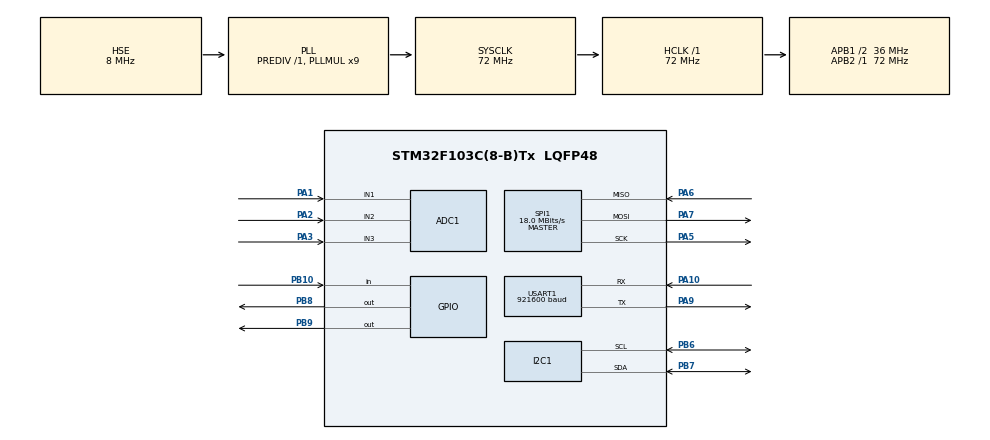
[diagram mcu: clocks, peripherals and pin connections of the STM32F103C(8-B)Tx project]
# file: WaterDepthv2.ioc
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ADC1.Channel-0\#ChannelRegularConversion=ADC_CHANNEL_1
ADC1.NbrOfConversionFlag=1
ADC1.Rank-0\#ChannelRegularConversion=1
ADC1.SamplingTime-0\#ChannelRegularConversion=ADC_SAMPLETIME_1CYCLE_5
ADC1.master=1
Mcu.Family=STM32F1
Mcu.Name=STM32F103C(8-B)Tx
Mcu.Package=LQFP48
NVIC.PriorityGroup=NVIC_PRIORITYGROUP_4
PA1.Signal=ADCx_IN1
PA10.GPIO_PuPd=GPIO_NOPULL
PA10.Mode=Asynchronous
PA10.Signal=USART1_RX
PA13.Mode=Serial_Wire
PA13.Signal=SYS_JTMS-SWDIO
PA14.Mode=Serial_Wire
PA14.Signal=SYS_JTCK-SWCLK
PA2.Signal=ADCx_IN2
PA3.Signal=ADCx_IN3
PA5.Mode=Full_Duplex_Master
PA5.Signal=SPI1_SCK
PA6.Mode=Full_Duplex_Master
PA6.Signal=SPI1_MISO
PA7.Mode=Full_Duplex_Master
PA7.Signal=SPI1_MOSI
PA9.GPIO_Speed=GPIO_SPEED_FREQ_LOW
PA9.Mode=Asynchronous
PA9.Signal=USART1_TX
PB10.GPIO_PuPd=GPIO_PULLUP
PB10.Signal=GPIO_Input
PB6.Mode=I2C
PB6.Signal=I2C1_SCL
PB7.Mode=I2C
PB7.Signal=I2C1_SDA
PB8.GPIO_PuPd=GPIO_NOPULL
PB8.GPIO_Speed=GPIO_SPEED_FREQ_LOW
PB8.Signal=GPIO_Output
PB9.GPIO_Speed=GPIO_SPEED_FREQ_LOW
PB9.Signal=GPIO_Output
PD0-OSC_IN.Mode=HSE-External-Oscillator
PD0-OSC_IN.Signal=RCC_OSC_IN
PD1-OSC_OUT.Mode=HSE-External-Oscillator
PD1-OSC_OUT.Signal=RCC_OSC_OUT
ProjectManager.HeapSize=0x200
ProjectManager.StackSize=0x400
ProjectManager.TargetToolchain=MDK-ARM V5.32
RCC.ADCPresc=RCC_ADCPCLK2_DIV6
RCC.AHBFreq_Value=72000000
RCC.APB1CLKDivider=RCC_HCLK_DIV2
RCC.APB1Freq_Value=36000000
RCC.APB1TimFreq_Value=72000000
RCC.APB2Freq_Value=72000000
RCC.APB2TimFreq_Value=72000000
RCC.HCLKFreq_Value=72000000
RCC.PLLMUL=RCC_PLL_MUL9
RCC.PLLSourceVirtual=RCC_PLLSOURCE_HSE
RCC.SYSCLKFreq_VALUE=72000000
RCC.SYSCLKSource=RCC_SYSCLKSOURCE_PLLCLK
RCC.USBFreq_Value=72000000
SH.ADCx_IN1.0=ADC1_IN1,IN1
SH.ADCx_IN2.0=ADC1_IN2,IN2
SH.ADCx_IN3.0=ADC1_IN3,IN3
SPI1.BaudRatePrescaler=SPI_BAUDRATEPRESCALER_4
SPI1.CalculateBaudRate=18.0 MBits/s
SPI1.Direction=SPI_DIRECTION_2LINES
SPI1.Mode=SPI_MODE_MASTER
SPI1.VirtualType=VM_MASTER
USART1.BaudRate=921600
USART1.VirtualMode=VM_ASYNC
board=custom

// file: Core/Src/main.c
/* USER CODE BEGIN Header */
/**
  ******************************************************************************
  * @file           : main.c
  * @brief          : Main program body
  ******************************************************************************
  * @attention
  *
  * Copyright (c) 2022 STMicroelectronics.
  * All rights reserved.
  *
  * This software is licensed under terms that can be found in the LICENSE file
  * in the root directory of this software component.
  * If no LICENSE file comes with this software, it is provided AS-IS.
  *
  ******************************************************************************
  */
/* USER CODE END Header */
#include "main.h"

/* USER CODE BEGIN Includes */
#include "MS5837.h"
#include <stdio.h>
/* USER CODE END Includes */

ADC_HandleTypeDef hadc1;

I2C_HandleTypeDef hi2c1;

SPI_HandleTypeDef hspi1;

UART_HandleTypeDef huart1;

void SystemClock_Config(void);
static void MX_GPIO_Init(void);
static void MX_I2C1_Init(void);
static void MX_USART1_UART_Init(void);
static void MX_ADC1_Init(void);
static void MX_SPI1_Init(void);

/* USER CODE BEGIN 0 */
int fputc(int ch, FILE *f)
{
    uint8_t temp[1] = {ch};
    HAL_UART_Transmit(&huart1, temp, 1, 2);
}
/* USER CODE END 0 */

int main(void)
{
  /* USER CODE BEGIN 1 */
    float temp=0;
    float alt=0;
  /* USER CODE END 1 */

  /* MCU Configuration--------------------------------------------------------*/

  /* Reset of all peripherals, Initializes the Flash interface and the Systick. */
  HAL_Init();

  /* Configure the system clock */
  SystemClock_Config();

  /* Initialize all configured peripherals */
  MX_GPIO_Init();
  MX_I2C1_Init();
  MX_USART1_UART_Init();
  MX_ADC1_Init();
  MX_SPI1_Init();
  /* USER CODE BEGIN 2 */
    while(MS5837_init(&hi2c1)==0)
    {
        HAL_GPIO_TogglePin(GPIOB,GPIO_PIN_8);
        HAL_Delay(500);
    }
  /* USER CODE END 2 */

  /* Infinite loop */
  /* USER CODE BEGIN WHILE */
  while (1)
  {
      MS5837_read(&hi2c1);
//      temp = depth();
      HAL_GPIO_TogglePin(GPIOB,GPIO_PIN_8);
//      HAL_UART_Transmit(&huart1,(uint8_t*)temp,4,5);
//      printf("%d\t",temp);
      printf("%f\t",temperature());
      printf("%f\r\n",depth());
      //HAL_UART_Transmit(&huart1,(uint8_t*)'T',1,5);
      //printf("temp=%f\r\n",temp);
      HAL_Delay(100);

    /* USER CODE END WHILE */

  }
}

void SystemClock_Config(void)
{
  RCC_OscInitTypeDef RCC_OscInitStruct = {0};
  RCC_ClkInitTypeDef RCC_ClkInitStruct = {0};
  RCC_PeriphCLKInitTypeDef PeriphClkInit = {0};

  /** Initializes the RCC Oscillators according to the specified parameters
  * in the RCC_OscInitTypeDef structure.
  */
  RCC_OscInitStruct.OscillatorType = RCC_OSCILLATORTYPE_HSE;
  RCC_OscInitStruct.HSEState = RCC_HSE_ON;
  RCC_OscInitStruct.HSEPredivValue = RCC_HSE_PREDIV_DIV1;
  RCC_OscInitStruct.HSIState = RCC_HSI_ON;
  RCC_OscInitStruct.PLL.PLLState = RCC_PLL_ON;
  RCC_OscInitStruct.PLL.PLLSource = RCC_PLLSOURCE_HSE;
  RCC_OscInitStruct.PLL.PLLMUL = RCC_PLL_MUL9;
  if (HAL_RCC_OscConfig(&RCC_OscInitStruct) != HAL_OK)
  {
    Error_Handler();
  }
  /** Initializes the CPU, AHB and APB buses clocks
  */
  RCC_ClkInitStruct.ClockType = RCC_CLOCKTYPE_HCLK|RCC_CLOCKTYPE_SYSCLK
                              |RCC_CLOCKTYPE_PCLK1|RCC_CLOCKTYPE_PCLK2;
  RCC_ClkInitStruct.SYSCLKSource = RCC_SYSCLKSOURCE_PLLCLK;
  RCC_ClkInitStruct.AHBCLKDivider = RCC_SYSCLK_DIV1;
  RCC_ClkInitStruct.APB1CLKDivider = RCC_HCLK_DIV2;
  RCC_ClkInitStruct.APB2CLKDivider = RCC_HCLK_DIV1;

  if (HAL_RCC_ClockConfig(&RCC_ClkInitStruct, FLASH_LATENCY_2) != HAL_OK)
  {
    Error_Handler();
  }
  PeriphClkInit.PeriphClockSelection = RCC_PERIPHCLK_ADC;
  PeriphClkInit.AdcClockSelection = RCC_ADCPCLK2_DIV6;
  if (HAL_RCCEx_PeriphCLKConfig(&PeriphClkInit) != HAL_OK)
  {
    Error_Handler();
  }
}

static void MX_ADC1_Init(void)
{

  ADC_ChannelConfTypeDef sConfig = {0};

  /** Common config
  */
  hadc1.Instance = ADC1;
  hadc1.Init.ScanConvMode = ADC_SCAN_DISABLE;
  hadc1.Init.ContinuousConvMode = DISABLE;
  hadc1.Init.DiscontinuousConvMode = DISABLE;
  hadc1.Init.ExternalTrigConv = ADC_SOFTWARE_START;
  hadc1.Init.DataAlign = ADC_DATAALIGN_RIGHT;
  hadc1.Init.NbrOfConversion = 1;
  if (HAL_ADC_Init(&hadc1) != HAL_OK)
  {
    Error_Handler();
  }
  /** Configure Regular Channel
  */
  sConfig.Channel = ADC_CHANNEL_1;
  sConfig.Rank = ADC_REGULAR_RANK_1;
  sConfig.SamplingTime = ADC_SAMPLETIME_1CYCLE_5;
  if (HAL_ADC_ConfigChannel(&hadc1, &sConfig) != HAL_OK)
  {
    Error_Handler();
  }

}

static void MX_I2C1_Init(void)
{

  hi2c1.Instance = I2C1;
  hi2c1.Init.ClockSpeed = 100000;
  hi2c1.Init.DutyCycle = I2C_DUTYCYCLE_2;
  hi2c1.Init.OwnAddress1 = 0;
  hi2c1.Init.AddressingMode = I2C_ADDRESSINGMODE_7BIT;
  hi2c1.Init.DualAddressMode = I2C_DUALADDRESS_DISABLE;
  hi2c1.Init.OwnAddress2 = 0;
  hi2c1.Init.GeneralCallMode = I2C_GENERALCALL_DISABLE;
  hi2c1.Init.NoStretchMode = I2C_NOSTRETCH_DISABLE;
  if (HAL_I2C_Init(&hi2c1) != HAL_OK)
  {
    Error_Handler();
  }

}

static void MX_SPI1_Init(void)
{

  /* SPI1 parameter configuration*/
  hspi1.Instance = SPI1;
  hspi1.Init.Mode = SPI_MODE_MASTER;
  hspi1.Init.Direction = SPI_DIRECTION_2LINES;
  hspi1.Init.DataSize = SPI_DATASIZE_8BIT;
  hspi1.Init.CLKPolarity = SPI_POLARITY_LOW;
  hspi1.Init.CLKPhase = SPI_PHASE_1EDGE;
  hspi1.Init.NSS = SPI_NSS_SOFT;
  hspi1.Init.BaudRatePrescaler = SPI_BAUDRATEPRESCALER_4;
  hspi1.Init.FirstBit = SPI_FIRSTBIT_MSB;
  hspi1.Init.TIMode = SPI_TIMODE_DISABLE;
  hspi1.Init.CRCCalculation = SPI_CRCCALCULATION_DISABLE;
  hspi1.Init.CRCPolynomial = 10;
  if (HAL_SPI_Init(&hspi1) != HAL_OK)
  {
    Error_Handler();
  }

}

static void MX_USART1_UART_Init(void)
{

  huart1.Instance = USART1;
  huart1.Init.BaudRate = 921600;
  huart1.Init.WordLength = UART_WORDLENGTH_8B;
  huart1.Init.StopBits = UART_STOPBITS_1;
  huart1.Init.Parity = UART_PARITY_NONE;
  huart1.Init.Mode = UART_MODE_TX_RX;
  huart1.Init.HwFlowCtl = UART_HWCONTROL_NONE;
  huart1.Init.OverSampling = UART_OVERSAMPLING_16;
  if (HAL_UART_Init(&huart1) != HAL_OK)
  {
    Error_Handler();
  }

}

static void MX_GPIO_Init(void)
{
  GPIO_InitTypeDef GPIO_InitStruct = {0};

  /* GPIO Ports Clock Enable */
  __HAL_RCC_GPIOD_CLK_ENABLE();
  __HAL_RCC_GPIOA_CLK_ENABLE();
  __HAL_RCC_GPIOB_CLK_ENABLE();

  /*Configure GPIO pin Output Level */
  HAL_GPIO_WritePin(GPIOB, GPIO_PIN_8|GPIO_PIN_9, GPIO_PIN_RESET);

  /*Configure GPIO pin : PB10 */
  GPIO_InitStruct.Pin = GPIO_PIN_10;
  GPIO_InitStruct.Mode = GPIO_MODE_INPUT;
  GPIO_InitStruct.Pull = GPIO_PULLUP;
  HAL_GPIO_Init(GPIOB, &GPIO_InitStruct);

  /*Configure GPIO pins : PB8 PB9 */
  GPIO_InitStruct.Pin = GPIO_PIN_8|GPIO_PIN_9;
  GPIO_InitStruct.Mode = GPIO_MODE_OUTPUT_PP;
  GPIO_InitStruct.Pull = GPIO_NOPULL;
  GPIO_InitStruct.Speed = GPIO_SPEED_FREQ_LOW;
  HAL_GPIO_Init(GPIOB, &GPIO_InitStruct);

}

void Error_Handler(void)
{
  __disable_irq();
  while (1)
  {
  }
}
